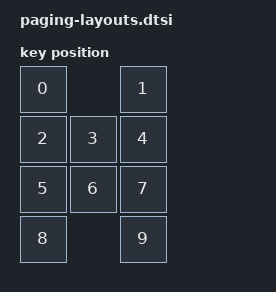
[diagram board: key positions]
#include <physical_layouts.dtsi>

&uart0 {
    status = "okay";
    compatible = "nordic,nrf-uarte";
    current-speed = <115200>;
     pinctrl-0 = <&uart0_default>;
};

/ {
    physical_layout0: physical_layout_0 {
        compatible = "zmk,physical-layout";
        display-name = "test";
        kscan = <&kscan0>;
        transform = <&matrix_transform0>;
        
        keys  //                     w   h    x    y     rot    rx    ry
            = <&key_physical_attrs 100 100    0    0       0     0     0>
            , <&key_physical_attrs 100 100  200    0       0     0     0>
            , <&key_physical_attrs 100 100    0  100       0     0     0>
            , <&key_physical_attrs 100 100  100  100       0     0     0>
            , <&key_physical_attrs 100 100  200  100       0     0     0>
            , <&key_physical_attrs 100 100    0  200       0     0     0>
            , <&key_physical_attrs 100 100  100  200       0     0     0>
            , <&key_physical_attrs 100 100  200  200       0     0     0>
            , <&key_physical_attrs 100 100    0  300       0     0     0>
            , <&key_physical_attrs 100 100  200  300       0     0     0>
            ;
    };
};
